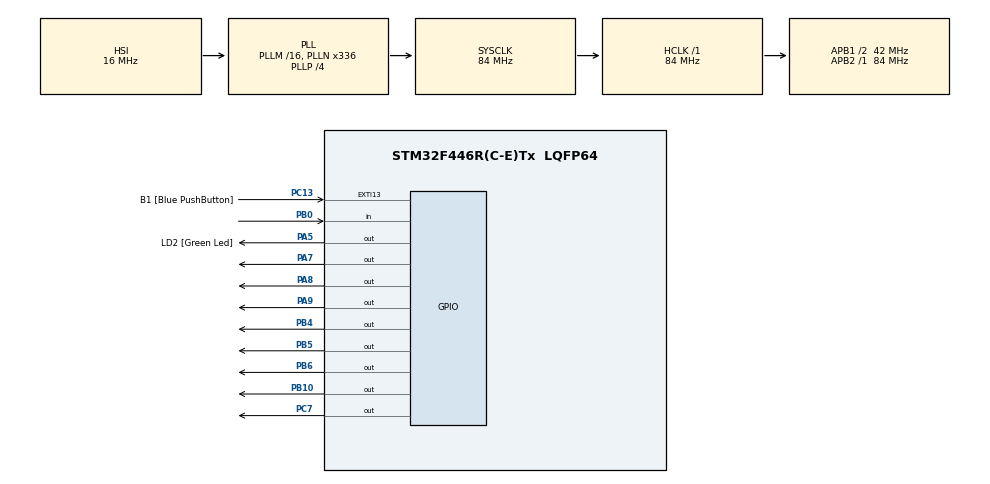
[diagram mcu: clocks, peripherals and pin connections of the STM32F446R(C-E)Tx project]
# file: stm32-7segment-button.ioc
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Mcu.Family=STM32F4
Mcu.Name=STM32F446R(C-E)Tx
Mcu.Package=LQFP64
NVIC.PriorityGroup=NVIC_PRIORITYGROUP_0
PA13.GPIO_Label=TMS
PA13.Signal=SYS_JTMS-SWDIO
PA14.GPIO_Label=TCK
PA14.Signal=SYS_JTCK-SWCLK
PA2.GPIO_Label=USART_TX
PA2.Signal=USART2_TX
PA3.GPIO_Label=USART_RX
PA3.Signal=USART2_RX
PA5.GPIO_Label=LD2 [Green Led]
PA5.Signal=GPIO_Output
PA7.Signal=GPIO_Output
PA8.Signal=GPIO_Output
PA9.Signal=GPIO_Output
PB0.Signal=GPIO_Input
PB10.Signal=GPIO_Output
PB3.GPIO_Label=SWO
PB3.Signal=SYS_JTDO-SWO
PB4.Signal=GPIO_Output
PB5.Signal=GPIO_Output
PB6.Signal=GPIO_Output
PC13.GPIO_Label=B1 [Blue PushButton]
PC13.GPIO_ModeDefaultEXTI=GPIO_MODE_IT_FALLING
PC13.Signal=GPXTI13
PC14-OSC32_IN.Signal=RCC_OSC32_IN
PC15-OSC32_OUT.Signal=RCC_OSC32_OUT
PC7.Signal=GPIO_Output
PH0-OSC_IN.Signal=RCC_OSC_IN
PH1-OSC_OUT.Signal=RCC_OSC_OUT
ProjectManager.HeapSize=0x200
ProjectManager.StackSize=0x400
ProjectManager.TargetToolchain=STM32CubeIDE
RCC.AHBFreq_Value=84000000
RCC.APB1CLKDivider=RCC_HCLK_DIV2
RCC.APB1Freq_Value=42000000
RCC.APB1TimFreq_Value=84000000
RCC.APB2Freq_Value=84000000
RCC.APB2TimFreq_Value=84000000
RCC.CortexFreq_Value=84000000
RCC.FLatency-AdvancedSettings=FLASH_LATENCY_2
RCC.HCLKFreq_Value=84000000
RCC.HSE_VALUE=8000000
RCC.HSI_VALUE=16000000
RCC.LSE_VALUE=32768
RCC.PLLN=336
RCC.PLLP=RCC_PLLP_DIV4
RCC.SYSCLKFreq_VALUE=84000000
RCC.SYSCLKSource=RCC_SYSCLKSOURCE_PLLCLK
RCC.USBFreq_Value=168000000
RCC.VCOOutputFreq_Value=336000000
board=NUCLEO-F446RE

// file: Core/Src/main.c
/* USER CODE BEGIN Header */
/**
  ******************************************************************************
  * @file           : main.c
  * @brief          : Main program body
  ******************************************************************************
  * @attention
  *
  * Copyright (c) 2026 STMicroelectronics.
  * All rights reserved.
  *
  * This software is licensed under terms that can be found in the LICENSE file
  * in the root directory of this software component.
  * If no LICENSE file comes with this software, it is provided AS-IS.
  *
  ******************************************************************************
  */
/* USER CODE END Header */
#include "main.h"

void SystemClock_Config(void);
static void MX_GPIO_Init(void);
/* USER CODE BEGIN PFP */

void Display_Digit(uint8_t digit);
void Write_Digit(
    GPIO_PinState a,
    GPIO_PinState b,
    GPIO_PinState c,
    GPIO_PinState d,
    GPIO_PinState e,
    GPIO_PinState f,
    GPIO_PinState g,
    GPIO_PinState dp);

/* USER CODE END PFP */

int main(void)
{

  /* MCU Configuration--------------------------------------------------------*/

  /* Reset of all peripherals, Initializes the Flash interface and the Systick. */
  HAL_Init();

  /* Configure the system clock */
  SystemClock_Config();

  /* Initialize all configured peripherals */
  MX_GPIO_Init();
  /* USER CODE BEGIN 2 */

  uint8_t counter = 0;
  uint8_t button_previous = GPIO_PIN_SET;

  Display_Digit(counter);

  /* USER CODE END 2 */

  /* Infinite loop */
  while (1)
  {

    /* USER CODE BEGIN 3 */

	  uint8_t button_current = HAL_GPIO_ReadPin(GPIOB, GPIO_PIN_0);

	  // Detect button press: HIGH -> LOW
	  if (button_current == GPIO_PIN_RESET && button_previous == GPIO_PIN_SET)
	  {
		  // Wait 20 ms for debounce
		  HAL_Delay(20);

		  // Confirm that the button is still pressed
		  if (HAL_GPIO_ReadPin(GPIOB, GPIO_PIN_0) == GPIO_PIN_RESET)
		  {
			  counter++;

			  if (counter > 9)
			  {
				  counter = 0;
			  }

			  Display_Digit(counter);

			  // Wait until the button is released
			  while(HAL_GPIO_ReadPin(GPIOB, GPIO_PIN_0) == GPIO_PIN_RESET);
		  }

	  }
	  button_previous = button_current;

  }

//  while (1)
//  {
//      if (HAL_GPIO_ReadPin(GPIOB, GPIO_PIN_0) == GPIO_PIN_RESET)
//      {
//    	  Display_Digit(3);
//      }
//      else
//      {
//    	  Display_Digit(7);
//      }
//  }
  /* USER CODE END 3 */
}

void SystemClock_Config(void)
{
  RCC_OscInitTypeDef RCC_OscInitStruct = {0};
  RCC_ClkInitTypeDef RCC_ClkInitStruct = {0};

  /** Configure the main internal regulator output voltage
  */
  __HAL_RCC_PWR_CLK_ENABLE();
  __HAL_PWR_VOLTAGESCALING_CONFIG(PWR_REGULATOR_VOLTAGE_SCALE3);

  /** Initializes the RCC Oscillators according to the specified parameters
  * in the RCC_OscInitTypeDef structure.
  */
  RCC_OscInitStruct.OscillatorType = RCC_OSCILLATORTYPE_HSI;
  RCC_OscInitStruct.HSIState = RCC_HSI_ON;
  RCC_OscInitStruct.HSICalibrationValue = RCC_HSICALIBRATION_DEFAULT;
  RCC_OscInitStruct.PLL.PLLState = RCC_PLL_ON;
  RCC_OscInitStruct.PLL.PLLSource = RCC_PLLSOURCE_HSI;
  RCC_OscInitStruct.PLL.PLLM = 16;
  RCC_OscInitStruct.PLL.PLLN = 336;
  RCC_OscInitStruct.PLL.PLLP = RCC_PLLP_DIV4;
  RCC_OscInitStruct.PLL.PLLQ = 2;
  RCC_OscInitStruct.PLL.PLLR = 2;
  if (HAL_RCC_OscConfig(&RCC_OscInitStruct) != HAL_OK)
  {
    Error_Handler();
  }

  /** Initializes the CPU, AHB and APB buses clocks
  */
  RCC_ClkInitStruct.ClockType = RCC_CLOCKTYPE_HCLK|RCC_CLOCKTYPE_SYSCLK
                              |RCC_CLOCKTYPE_PCLK1|RCC_CLOCKTYPE_PCLK2;
  RCC_ClkInitStruct.SYSCLKSource = RCC_SYSCLKSOURCE_PLLCLK;
  RCC_ClkInitStruct.AHBCLKDivider = RCC_SYSCLK_DIV1;
  RCC_ClkInitStruct.APB1CLKDivider = RCC_HCLK_DIV2;
  RCC_ClkInitStruct.APB2CLKDivider = RCC_HCLK_DIV1;

  if (HAL_RCC_ClockConfig(&RCC_ClkInitStruct, FLASH_LATENCY_2) != HAL_OK)
  {
    Error_Handler();
  }
}

static void MX_GPIO_Init(void)
{
  GPIO_InitTypeDef GPIO_InitStruct = {0};

  /* GPIO Ports Clock Enable */
  __HAL_RCC_GPIOC_CLK_ENABLE();
  __HAL_RCC_GPIOH_CLK_ENABLE();
  __HAL_RCC_GPIOA_CLK_ENABLE();
  __HAL_RCC_GPIOB_CLK_ENABLE();

  /*Configure GPIO pin Output Level */
  HAL_GPIO_WritePin(GPIOA, LD2_Pin|GPIO_PIN_7|GPIO_PIN_8|GPIO_PIN_9, GPIO_PIN_RESET);

  /*Configure GPIO pin Output Level */
  HAL_GPIO_WritePin(GPIOB, GPIO_PIN_10|GPIO_PIN_4|GPIO_PIN_5|GPIO_PIN_6, GPIO_PIN_RESET);

  /*Configure GPIO pin Output Level */
  HAL_GPIO_WritePin(GPIOC, GPIO_PIN_7, GPIO_PIN_RESET);

  /*Configure GPIO pin : B1_Pin */
  GPIO_InitStruct.Pin = B1_Pin;
  GPIO_InitStruct.Mode = GPIO_MODE_IT_FALLING;
  GPIO_InitStruct.Pull = GPIO_NOPULL;
  HAL_GPIO_Init(B1_GPIO_Port, &GPIO_InitStruct);

  /*Configure GPIO pins : USART_TX_Pin USART_RX_Pin */
  GPIO_InitStruct.Pin = USART_TX_Pin|USART_RX_Pin;
  GPIO_InitStruct.Mode = GPIO_MODE_AF_PP;
  GPIO_InitStruct.Pull = GPIO_NOPULL;
  GPIO_InitStruct.Speed = GPIO_SPEED_FREQ_VERY_HIGH;
  GPIO_InitStruct.Alternate = GPIO_AF7_USART2;
  HAL_GPIO_Init(GPIOA, &GPIO_InitStruct);

  /*Configure GPIO pins : LD2_Pin PA7 PA8 PA9 */
  GPIO_InitStruct.Pin = LD2_Pin|GPIO_PIN_7|GPIO_PIN_8|GPIO_PIN_9;
  GPIO_InitStruct.Mode = GPIO_MODE_OUTPUT_PP;
  GPIO_InitStruct.Pull = GPIO_NOPULL;
  GPIO_InitStruct.Speed = GPIO_SPEED_FREQ_LOW;
  HAL_GPIO_Init(GPIOA, &GPIO_InitStruct);

  /*Configure GPIO pin : PB0 */
  GPIO_InitStruct.Pin = GPIO_PIN_0;
  GPIO_InitStruct.Mode = GPIO_MODE_INPUT;
  GPIO_InitStruct.Pull = GPIO_NOPULL;
  HAL_GPIO_Init(GPIOB, &GPIO_InitStruct);

  /*Configure GPIO pins : PB10 PB4 PB5 PB6 */
  GPIO_InitStruct.Pin = GPIO_PIN_10|GPIO_PIN_4|GPIO_PIN_5|GPIO_PIN_6;
  GPIO_InitStruct.Mode = GPIO_MODE_OUTPUT_PP;
  GPIO_InitStruct.Pull = GPIO_NOPULL;
  GPIO_InitStruct.Speed = GPIO_SPEED_FREQ_LOW;
  HAL_GPIO_Init(GPIOB, &GPIO_InitStruct);

  /*Configure GPIO pin : PC7 */
  GPIO_InitStruct.Pin = GPIO_PIN_7;
  GPIO_InitStruct.Mode = GPIO_MODE_OUTPUT_PP;
  GPIO_InitStruct.Pull = GPIO_NOPULL;
  GPIO_InitStruct.Speed = GPIO_SPEED_FREQ_LOW;
  HAL_GPIO_Init(GPIOC, &GPIO_InitStruct);

}

/* USER CODE BEGIN 4 */

void Display_Digit(uint8_t digit)
{
    switch (digit)
    {
        case 0:
            Write_Digit(1, 1, 1, 1, 1, 1, 0, 0);
            break;

        case 1:
            Write_Digit(0, 1, 1, 0, 0, 0, 0, 0);
            break;

        case 2:
            Write_Digit(1, 1, 0, 1, 1, 0, 1, 0);
            break;

        case 3:
            Write_Digit(1, 1, 1, 1, 0, 0, 1, 0);
            break;

        case 4:
            Write_Digit(0, 1, 1, 0, 0, 1, 1, 0);
            break;

        case 5:
            Write_Digit(1, 0, 1, 1, 0, 1, 1, 0);
            break;

        case 6:
            Write_Digit(1, 0, 1, 1, 1, 1, 1, 0);
            break;

        case 7:
            Write_Digit(1, 1, 1, 0, 0, 0, 0, 0);
            break;

        case 8:
            Write_Digit(1, 1, 1, 1, 1, 1, 1, 0);
            break;

        case 9:
            Write_Digit(1, 1, 1, 1, 0, 1, 1, 0);
            break;

        default:
            Write_Digit(0, 0, 0, 0, 0, 0, 0, 0);
            break;
    }
}

void Write_Digit(
    GPIO_PinState a,
    GPIO_PinState b,
    GPIO_PinState c,
    GPIO_PinState d,
    GPIO_PinState e,
    GPIO_PinState f,
    GPIO_PinState g,
    GPIO_PinState dp)
{
    HAL_GPIO_WritePin(GPIOB, GPIO_PIN_5, a);    // A
    HAL_GPIO_WritePin(GPIOB, GPIO_PIN_4, b);    // B
    HAL_GPIO_WritePin(GPIOB, GPIO_PIN_10, c);   // C
    HAL_GPIO_WritePin(GPIOA, GPIO_PIN_8, d);    // D
    HAL_GPIO_WritePin(GPIOA, GPIO_PIN_9, e);    // E
    HAL_GPIO_WritePin(GPIOC, GPIO_PIN_7, f);    // F
    HAL_GPIO_WritePin(GPIOB, GPIO_PIN_6, g);    // G
    HAL_GPIO_WritePin(GPIOA, GPIO_PIN_7, dp);   // DP
}

/* USER CODE END 4 */

void Error_Handler(void)
{
  __disable_irq();
  while (1)
  {
  }
}
